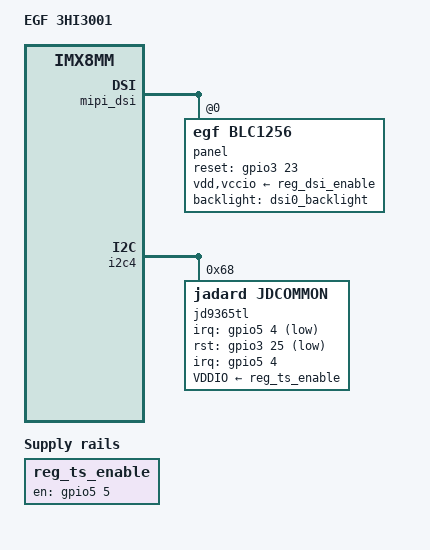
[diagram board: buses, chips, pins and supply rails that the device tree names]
// SPDX-License-Identifier: GPL-2.0+
/*
 * Copyright 2020 NXP
 */

 /dts-v1/;

 #include "imx8mm-egf-3pb1002.dts"
 
 / {
    model = "EGF 3HI3001";

    reg_ts_enable: regulator-ts-ena  {
        compatible = "regulator-fixed";
        regulator-name = "regulator-ts-ena";	
        gpio = <&gpio5 5 GPIO_ACTIVE_HIGH>;
        enable-active-high;
        regulator-always-on;
    };
 };

 &mipi_dsi {
	status = "okay";
	panel@0 {
		compatible = "egf,blc1256";
        reg = <0>;
       	dsi-lanes = <4>;
        pinctrl-names = "default";
		reset-gpio = <&gpio3 23 GPIO_ACTIVE_HIGH>;
		vdd-supply =  <&reg_dsi_enable>;
        vccio-supply =  <&reg_dsi_enable>;
		backlight = <&dsi0_backlight>;		
		status = "okay";
	};

};
&i2c4 {
    jd9365tl@68 {
        compatible = "jadard,jdcommon","jadard,jd9365tl";
        pinctrl-names = "default";
		pinctrl-0 = <&pinctrl_ts>;
        reg = <0x68>;
        status = "okay";
        interrupt-parent = <&gpio5>;
        interrupts = <4 IRQ_TYPE_EDGE_FALLING>;
		jadard,irq-gpio = <&gpio5 4 GPIO_ACTIVE_LOW>;
		jadard,rst-gpio = <&gpio3 25 GPIO_ACTIVE_LOW>;
		//jadard,panel-max-points = <4>;								/* Number of simultaneous tracks (for multitouch) [10 if not specified] */
		jadard,int-is-edge = <1>;
		//jadard,stylus = <1>;
		jadard,panel-sense-nums = <600 1024>;
		jadard,panel-coords = <0 600 0 1024>;
        VDDIO-supply = <&reg_ts_enable>;
    };
};

&iomuxc {
	pinctrl_ts: tsgrp {
		fsl,pins = <
            MX8MM_IOMUXC_SAI5_MCLK_GPIO3_IO25          0x00000156       /* TS NRESET */
            MX8MM_IOMUXC_SPDIF_RX_GPIO5_IO4            0x00000116       /* TS INT    */
            MX8MM_IOMUXC_SPDIF_EXT_CLK_GPIO5_IO5       0x00000116       /* TS V EN   */
		>;
	};
};
